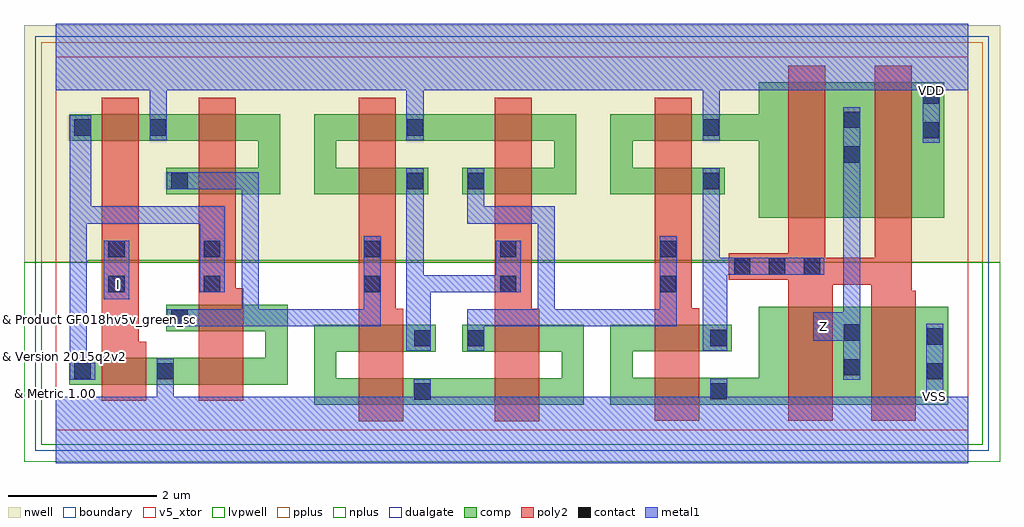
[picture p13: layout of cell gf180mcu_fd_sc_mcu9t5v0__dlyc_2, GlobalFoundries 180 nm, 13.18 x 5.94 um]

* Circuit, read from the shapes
.subckt gf180mcu_fd_sc_mcu9t5v0__dlyc_2 I VDD VSS Z
XM1 VSS I n1 VSUBS nfet_05v0 w=0.36u l=0.6u
XM2 n2 n1 VSS VSUBS nfet_05v0 w=0.36u l=0.6u
XM3 n2 n1 n3 VSUBS nfet_05v0 w=0.36u l=0.6u
XM4 VSS n3 n4 VSUBS nfet_05v0 w=0.36u l=0.6u
XM5 n5 n3 n4 VSUBS nfet_05v0 w=0.36u l=0.6u
XM6 n6 n5 VSS VSUBS nfet_05v0 w=0.36u l=0.6u
XM7 n6 n5 n7 VSUBS nfet_05v0 w=0.36u l=0.6u
XM8 VSS n7 n8 VSUBS nfet_05v0 w=0.36u l=0.6u
XM9 n9 n7 n8 VSUBS nfet_05v0 w=0.36u l=0.6u
XM10 Z n9 VSS VSUBS nfet_05v0 w=1.32u l=0.6u m=2
XM11 VDD I n1 n10 pfet_05v0 w=0.36u l=0.5u
XM12 n11 n1 n3 n10 pfet_05v0 w=0.36u l=0.5u
XM13 n11 n1 VDD n10 pfet_05v0 w=0.36u l=0.5u
XM14 n5 n3 n12 n10 pfet_05v0 w=0.36u l=0.5u
XM15 VDD n3 n12 n10 pfet_05v0 w=0.36u l=0.5u
XM16 n13 n5 n7 n10 pfet_05v0 w=0.36u l=0.5u
XM17 n13 n5 VDD n10 pfet_05v0 w=0.36u l=0.5u
XM18 n9 n7 n14 n10 pfet_05v0 w=0.36u l=0.5u
XM19 VDD n7 n14 n10 pfet_05v0 w=0.36u l=0.5u
XM20 Z n9 VDD n10 pfet_05v0 w=1.83u l=0.5u m=2
.ends

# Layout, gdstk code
import gdstk
lib = gdstk.Library(unit=1e-6, precision=1e-09)
def R(c, l, rs):  # rectangles x0, y0, x1, y1
    for r in rs: c.add(gdstk.rectangle(r[:2], r[2:], *l))
def A(c, l, x, y, w, h, nx, ny, dx, dy):  # array of equal rectangles
    R(c, l, [(x+i*dx, y+j*dy, x+i*dx+w, y+j*dy+h) for i in range(nx) for j in range(ny)])
def P(c, l, *ps):  # polygons
    for p in ps: c.add(gdstk.Polygon(p, *l))
boundary = (0, 0)
nwell = (21, 0)
comp = (22, 0)
poly2 = (30, 0)
pplus = (31, 0)
nplus = (32, 0)
contact = (33, 0)
metal1 = (34, 0)
dualgate = (55, 0)
v5_xtor = (112, 1)
lvpwell = (204, 0)

gf180mcu_fd_sc_mcu9t5v0_ = lib.new_cell('gf180mcu_fd_sc_mcu9t5v0__dlyc_2')
R(gf180mcu_fd_sc_mcu9t5v0_, boundary, [(0,0,12.32,5.04)])
P(gf180mcu_fd_sc_mcu9t5v0_, nwell, [(-0.43,2.265),(-0.43,5.47),(12.75,5.47),(12.75,2.265),(9.315,2.265),(9.315,2.295),(0.43,2.295),(0.43,2.265)])
P(gf180mcu_fd_sc_mcu9t5v0_, comp, [(1.49,3.185),(1.49,3.545),(2.73,3.545),(2.73,3.905),(0.18,3.905),(0.18,4.265),(3.03,4.265),(3.03,3.185)],
  [(0.18,0.615),(0.18,0.975),(2.83,0.975),(2.83,1.335),(1.49,1.335),(1.49,1.695),(3.13,1.695),(3.13,0.615)],
  [(3.49,3.185),(3.49,4.265),(7.03,4.265),(7.03,3.185),(5.49,3.185),(5.49,3.545),(6.73,3.545),(6.73,3.905),(3.79,3.905),(3.79,3.545),(5.03,3.545),(5.03,3.185)],
  [(3.49,0.34),(3.49,1.42),(5.13,1.42),(5.13,1.06),(3.79,1.06),(3.79,0.7),(6.83,0.7),(6.83,1.06),(5.49,1.06),(5.49,1.42),(7.13,1.42),(7.13,0.34)],
  [(9.49,2.87),(9.49,3.905),(7.79,3.905),(7.79,3.545),(9.03,3.545),(9.03,3.185),(7.49,3.185),(7.49,4.265),(9.49,4.265),(9.49,4.7),(12,4.7),(12,2.87)],
  [(7.49,0.345),(7.49,1.425),(9.13,1.425),(9.13,1.065),(7.79,1.065),(7.79,0.705),(9.49,0.705),(9.49,1.665),(12.05,1.665),(12.05,0.345)])
P(gf180mcu_fd_sc_mcu9t5v0_, poly2, [(0.62,0.395),(0.62,4.485),(1.12,4.485),(1.12,1.195),(1.22,1.195),(1.22,0.395)],
  [(1.93,0.395),(1.93,4.485),(2.43,4.485),(2.43,1.915),(2.53,1.915),(2.53,0.395)],
  [(4.09,0.12),(4.09,4.485),(4.59,4.485),(4.59,1.64),(4.69,1.64),(4.69,0.12)],
  [(5.93,0.12),(5.93,4.485),(6.43,4.485),(6.43,1.64),(6.53,1.64),(6.53,0.12)],
  [(8.09,0.125),(8.09,4.485),(8.59,4.485),(8.59,1.645),(8.69,1.645),(8.69,0.125)],
  [(9.89,0.125),(9.89,2.03),(9.09,2.03),(9.09,2.39),(9.89,2.39),(9.89,4.92),(10.39,4.92),(10.39,2.325),(11.06,2.325),(11.06,4.92),(11.56,4.92),(11.56,1.885),(11.61,1.885),(11.61,0.125),(11.01,0.125),(11.01,1.965),(10.49,1.965),(10.49,0.125)])
R(gf180mcu_fd_sc_mcu9t5v0_, pplus, [(-0.2,2.265,12.52,5.24)])
R(gf180mcu_fd_sc_mcu9t5v0_, nplus, [(-0.2,-0.2,12.52,2.265)])
A(gf180mcu_fd_sc_mcu9t5v0_, contact, 9.16, 2.1, 0.22, 0.22, 3, 1, 0.47, 0)
R(gf180mcu_fd_sc_mcu9t5v0_, contact, [(4.84,0.41,5.06,0.63), (8.84,0.415,9.06,0.635), (0.25,0.685,0.47,0.905), (1.37,0.685,1.59,0.905), (11.76,0.685,11.98,0.905), (10.64,0.74,10.86,0.96), (4.84,1.13,5.06,1.35), (5.56,1.13,5.78,1.35), (8.84,1.135,9.06,1.355), (11.76,1.155,11.98,1.375), (10.64,1.21,10.86,1.43), (1.56,1.405,1.78,1.625), (0.71,1.865,0.93,2.085), (2,1.865,2.22,2.085), (4.16,1.865,4.38,2.085), (6,1.865,6.22,2.085), (8.16,1.865,8.38,2.085), (0.71,2.335,0.93,2.555), (2,2.335,2.22,2.555), (4.16,2.335,4.38,2.555), (6,2.335,6.22,2.555), (8.16,2.335,8.38,2.555), (1.56,3.255,1.78,3.475), (4.74,3.255,4.96,3.475), (5.56,3.255,5.78,3.475), (8.74,3.255,8.96,3.475), (10.64,3.61,10.86,3.83), (11.71,3.94,11.93,4.16), (0.25,3.975,0.47,4.195), (1.27,3.975,1.49,4.195), (4.74,3.975,4.96,4.195), (8.74,3.975,8.96,4.195), (10.64,4.08,10.86,4.3), (11.71,4.41,11.93,4.63)])
R(gf180mcu_fd_sc_mcu9t5v0_, metal1, [(0.65,1.77,0.99,2.56)])
P(gf180mcu_fd_sc_mcu9t5v0_, metal1, [(0.19,0.68),(0.19,4.255),(0.475,4.255),(0.475,3.02),(2.28,3.02),(2.28,1.86),(1.94,1.86),(1.94,2.79),(0.42,2.79),(0.42,0.91),(0.53,0.91),(0.53,0.68)],
  [(1.5,1.4),(1.5,1.63),(2.51,1.63),(2.51,3.25),(1.5,3.25),(1.5,3.48),(2.74,3.48),(2.74,1.63),(4.155,1.63),(4.155,2.615),(4.385,2.615),(4.385,1.4)],
  [(4.735,1.07),(4.735,3.535),(4.965,3.535),(4.965,2.09),(5.94,2.09),(5.94,2.56),(6.28,2.56),(6.28,1.86),(5.065,1.86),(5.065,1.07)],
  [(5.555,1.07),(5.555,1.63),(6.51,1.63),(6.51,2.79),(5.555,2.79),(5.555,3.535),(5.785,3.535),(5.785,3.02),(6.74,3.02),(6.74,1.63),(8.155,1.63),(8.155,2.615),(8.385,2.615),(8.385,1.4),(5.785,1.4),(5.785,1.07)],
  [(8.735,1.075),(8.735,3.535),(8.965,3.535),(8.965,2.325),(10.38,2.325),(10.38,2.095),(9.065,2.095),(9.065,1.075)],
  [(10.635,0.68),(10.635,1.21),(10.23,1.21),(10.23,1.59),(10.635,1.59),(10.635,4.36),(10.865,4.36),(10.865,0.68)],
  [(0,-0.45),(0,0.45),(1.365,0.45),(1.365,0.965),(1.595,0.965),(1.595,0.45),(4.835,0.45),(4.835,0.69),(5.065,0.69),(5.065,0.45),(8.835,0.45),(8.835,0.695),(9.065,0.695),(9.065,0.45),(11.755,0.45),(11.755,1.435),(11.985,1.435),(11.985,0.45),(12.32,0.45),(12.32,-0.45)],
  [(11.705,3.88),(11.705,4.59),(8.965,4.59),(8.965,3.915),(8.735,3.915),(8.735,4.59),(4.965,4.59),(4.965,3.915),(4.735,3.915),(4.735,4.59),(1.495,4.59),(1.495,3.915),(1.265,3.915),(1.265,4.59),(0,4.59),(0,5.49),(12.32,5.49),(12.32,4.59),(11.935,4.59),(11.935,3.88)])
R(gf180mcu_fd_sc_mcu9t5v0_, dualgate, [(-0.28,-0.28,12.6,5.32)])
R(gf180mcu_fd_sc_mcu9t5v0_, v5_xtor, [(0,0,12.32,5.04)])
P(gf180mcu_fd_sc_mcu9t5v0_, lvpwell, [(-0.43,-0.43),(-0.43,2.265),(0.43,2.265),(0.43,2.295),(9.315,2.295),(9.315,2.265),(12.75,2.265),(12.75,-0.43)])
gf180mcu_fd_sc_mcu9t5v0_.add(gdstk.Label('I', (0.84,1.96), layer=34, texttype=10))
gf180mcu_fd_sc_mcu9t5v0_.add(gdstk.Label('VDD', (11.82,4.59), layer=34, texttype=10))
gf180mcu_fd_sc_mcu9t5v0_.add(gdstk.Label('VSS', (11.87,0.45), layer=34, texttype=10))
gf180mcu_fd_sc_mcu9t5v0_.add(gdstk.Label('Z', (10.36,1.4), layer=34, texttype=10))
gf180mcu_fd_sc_mcu9t5v0_.add(gdstk.Label('& Vendor GLOBALFOUNDRIES', (0,2), layer=63, texttype=63))
gf180mcu_fd_sc_mcu9t5v0_.add(gdstk.Label('& Product GF018hv5v_green_sc9', (0,1.5), layer=63, texttype=63))
gf180mcu_fd_sc_mcu9t5v0_.add(gdstk.Label('& Version 2015q2v2', (0,1), layer=63, texttype=63))
gf180mcu_fd_sc_mcu9t5v0_.add(gdstk.Label('& Metric 1.00', (0,0.5), layer=63, texttype=63))

lib.write_gds('gf180mcu_fd_sc_mcu9t5v0__dlyc_2.gds')
